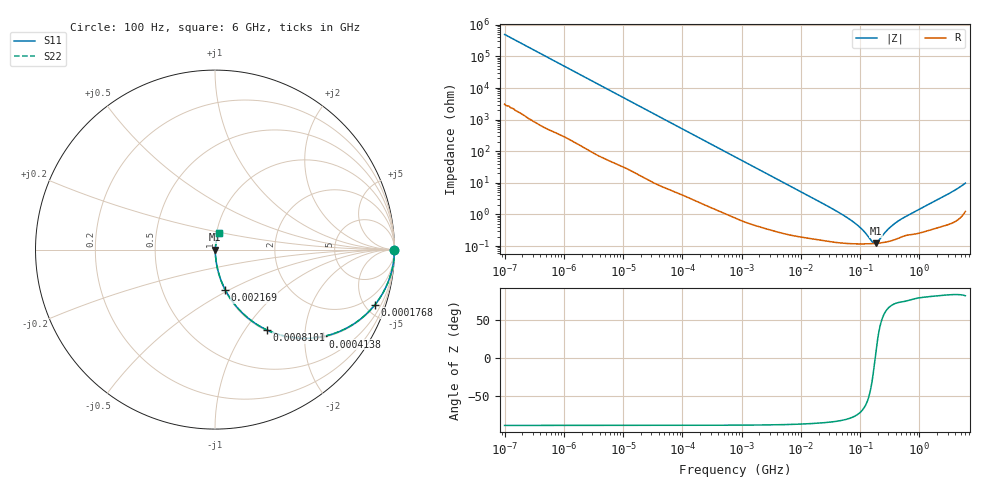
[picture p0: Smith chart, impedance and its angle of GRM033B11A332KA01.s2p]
!Murata Part Number: GRM033B11A332KA01
!These Parameters are Measured in Series Mode Connection
!Data Generated on Mar 30, 2021
!  o--ll--o
!Port1  Port2
!  o------o
!Operation Temp=25[degC], DC Bias Voltage=0[V]
!Freq. Start=100[Hz] Stop=6[GHz] 401[Steps]
# Hz S RI R 50
!Freq.(Hz) S11(Real) S11(Imag) S21(Real) S21(Imag) S12(Real) S12(Imag) S22(Real) S22(Imag)
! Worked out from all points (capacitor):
!   401 points, 100 Hz to 6 GHz, reference 50 ohm
!   read as one part in series: C = 3.21 nF near 109 Hz
!   lowest |Z| = 121 mohm at 182.6 MHz (marker M1)
!   series resonance near 179.9 MHz, so ESL is about 240 pH
!   S11 on the Smith chart (normalised r, x): 100 Hz: open; 176.8 kHz: 1.05, -5.76; 413.8 kHz: 1.03, -2.47; 810.1 kHz: 1.01, -1.27; 2.169 MHz: 1.01, -0.48; 6 GHz: 1.02, +0.19
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100  1 -0.000202  1.3e-06 0.000202  1.3e-06 0.000202  1 -0.000202
2008  1 -0.00402  3.9e-05 0.00402  3.9e-05 0.00402  1 -0.00402
40335  0.9932 -0.0792  0.00684 0.0792  0.00684 0.0792  0.9932 -0.0792
86348  0.9706 -0.165  0.0294 0.165  0.0294 0.165  0.9706 -0.165
176758  0.8903 -0.3081  0.1097 0.3081  0.1097 0.3081  0.8903 -0.3081
264476  0.786 -0.4054  0.214 0.4054  0.214 0.4054  0.786 -0.4054
413847  0.6035 -0.484  0.3965 0.484  0.3965 0.484  0.6035 -0.484
774597  0.3074 -0.4557  0.6926 0.4557  0.6926 0.4557  0.3074 -0.4557
810067  0.2891 -0.4476  0.7109 0.4476  0.7109 0.4476  0.2891 -0.4476
1267578  0.145 -0.3456  0.855 0.3456  0.855 0.3456  0.145 -0.3456
2169299  0.057 -0.2238  0.943 0.2238  0.943 0.2238  0.057 -0.2238
5079039  0.0128 -0.1008  0.9872 0.1008  0.9872 0.1008  0.0128 -0.1008
1.555665e7  0.0028 -0.0334  0.9972 0.0334  0.9972 0.0334  0.0028 -0.0334
7.129496e7  0.00122 -0.00632  0.9988 0.00632  0.9988 0.00632  0.00122 -0.00632
1.066761e8  0.00117 -0.00325  0.9988 0.00325  0.9988 0.00325  0.00117 -0.00325
1.596157e8  0.00119 -0.000712  0.9988 0.000712  0.9988 0.000712  0.00119 -0.000712
1.825626e8  0.00121 8.91e-05  0.9988 -8.91e-05  0.9988 -8.91e-05  0.00121 8.91e-05
1.996653e8  0.00123 0.000622  0.9988 -0.000622  0.9988 -0.000622  0.00123 0.000622
3.124326e8  0.00142 0.00343  0.9986 -0.00343  0.9986 -0.00343  0.00142 0.00343
5.112761e8  0.00201 0.00709  0.998 -0.00709  0.998 -0.00709  0.00201 0.00709
2.450438e9  0.00534 0.0346  0.9947 -0.0346  0.9947 -0.0346  0.00534 0.0346
6e9  0.0212 0.0937  0.9788 -0.0937  0.9788 -0.0937  0.0212 0.0937
